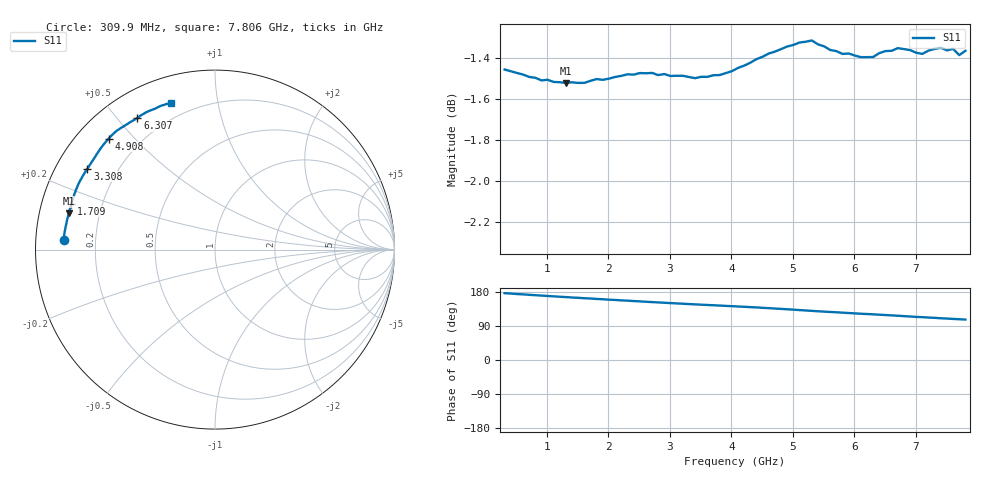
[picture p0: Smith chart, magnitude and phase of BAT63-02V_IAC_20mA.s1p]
! Infineon Technologies  Discrete & RF Semiconductors
! BAT63-02V
! IAC = 20 mA
! One-Port S-Parameters
# Hz  S  MA  R  50
!f  S11
!Hz  Mag  Ang
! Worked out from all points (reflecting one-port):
!   76 points, 309.9 MHz to 7.806 GHz, reference 50 ohm
!   lowest |S11| = -1.5 dB at 1.309 GHz (marker M1), VSWR 11.44, Z = 4.43 + j6.09 ohm
!   phase of S11 starts at 176 deg and turns -70 deg over the sweep
!   S11 on the Smith chart (normalised r, x): 309.9 MHz: 0.08, +0.03; 1.709 GHz: 0.09, +0.16; 3.308 GHz: 0.09, +0.29; 4.908 GHz: 0.09, +0.42; 6.307 GHz: 0.11, +0.57; 7.806 GHz: 0.12, +0.74
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3.0985e8  0.8456 176.3
7.0965e8  0.8421 172.0
1.30935e9  0.8393 166.0
1.6092e9  0.8393 163.0
1.70915e9  0.8403 162.2
1.8091e9  0.8411 161.1
1.90905e9  0.8408 160.4
2.009e9  0.8413 159.1
2.10895e9  0.8421 158.5
2.2089e9  0.8426 157.3
2.30885e9  0.8434 156.6
2.50875e9  0.8439 154.8
2.6087e9  0.8438 153.7
3.2084e9  0.8427 148.5
3.30835e9  0.8421 147.6
4.10795e9  0.8464 141.2
4.4078e9  0.8505 138.7
4.90755e9  0.8566 133.8
5.0075e9  0.8573 132.9
5.4073e9  0.8576 128.6
6.007e9  0.8522 123.0
6.30685e9  0.8516 120.5
6.70665e9  0.8558 116.9
6.90655e9  0.8549 114.8
7.0065e9  0.8536 113.7
7.10645e9  0.853 113.1
7.4063e9  0.856 110.1
7.8061e9  0.8545 106.8
